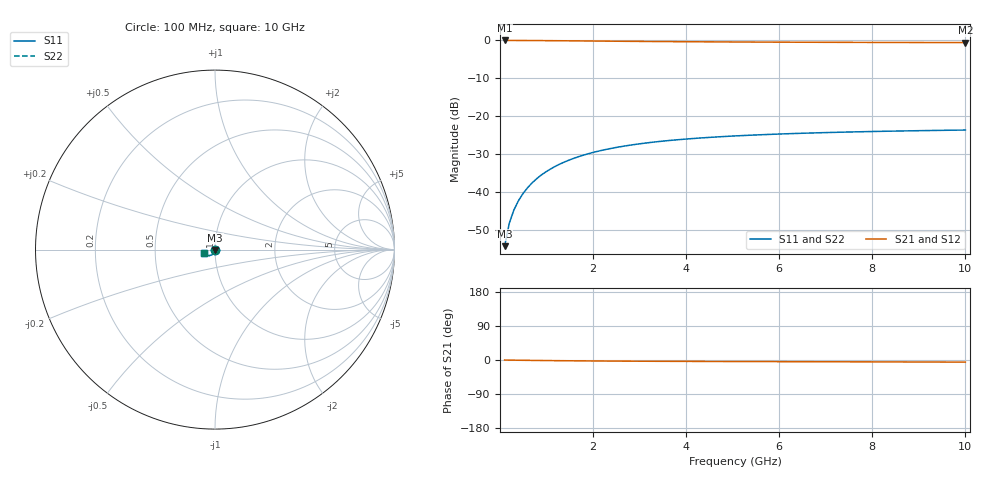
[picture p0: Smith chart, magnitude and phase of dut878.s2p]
! Touchstone file exported from HFSS 2024.1.0
!  File:  C:/UserFiles/LocalFiles/RDL_TSV_Batchsim/temp_TSV1_878_1779883547.aedt
!  Generated:  08:11:02 PM May 27, 2026
!  Design:  TSV1
!  Project:  temp_TSV1_878_1779883547
!  Setup:  Setup1
!  Solution:  Sweep
! Variables:
!  dtsv = 14.61um
!  hbump = 3um
!  htsv = 84.45um
!  lrdl = 252.1521522um
!  p = 40
!  p1 = 50.72um
!  t = 500um
!  trdl = 3um
!  wrdl = 24.89489489um
# GHz S MA R 50.000000
! Terminal data exported
! Port[1] = TSV22_T1
! Port[2] = TSV22_T2
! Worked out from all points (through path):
!   100 points, 100 MHz to 10 GHz, reference 50 ohm
!   highest |S21| = 0.00 dB at 100 MHz (marker M1); lowest = -0.6 dB at 10 GHz (marker M2)
!   lowest |S11| = -54.1 dB at 100 MHz (marker M3), VSWR 1.00, Z = 50 - j0.197 ohm
!   |S11| at or under -10 dB: start of sweep to end of sweep
!   |S22| runs from -54.1 to -23.6 dB; largest |S21 - S12| = 2.7e-15
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0.1  0.001965 -89.3  0.9998 -0.2  0.9998 -0.2  0.001965 -89.3
! Gamma 0 0 0 0
! Port Impedance 50 0 50 0
0.2  0.00393 -92.1  0.9997 -0.3  0.9997 -0.3  0.00393 -92.1
0.3  0.005891 -94.2  0.9993 -0.5  0.9993 -0.5  0.005891 -94.2
0.4  0.00784 -96.1  0.9989 -0.6  0.9989 -0.6  0.00784 -96.1
0.5  0.009768 -98.0  0.9984 -0.8  0.9984 -0.8  0.009768 -98.0
0.6  0.01167 -99.8  0.9977 -0.9  0.9977 -0.9  0.01167 -99.8
0.7  0.01354 -101.6  0.997 -1.1  0.997 -1.1  0.01354 -101.6
0.8  0.01537 -103.3  0.9962 -1.2  0.9962 -1.2  0.01537 -103.3
0.9  0.01715 -105.0  0.9953 -1.3  0.9953 -1.3  0.01715 -105.0
1.1  0.0206 -108.2  0.9933 -1.6  0.9933 -1.6  0.0206 -108.2
1.4  0.02539 -112.8  0.99 -1.9  0.99 -1.9  0.02539 -112.8
1.6  0.02833 -115.7  0.9877 -2.2  0.9877 -2.2  0.02833 -115.7
1.8  0.03107 -118.4  0.9853 -2.4  0.9853 -2.4  0.03107 -118.4
2.1  0.03479 -122.1  0.9816 -2.6  0.9816 -2.6  0.03479 -122.1
2.5  0.03912 -126.6  0.9769 -2.9  0.9769 -2.9  0.03912 -126.6
2.9  0.04281 -130.6  0.9725 -3.1  0.9725 -3.1  0.04281 -130.6
3.4  0.04667 -134.9  0.9675 -3.4  0.9675 -3.4  0.04667 -134.9
4.2  0.05153 -140.5  0.9607 -3.7  0.9607 -3.7  0.05153 -140.5
5.1  0.05562 -145.6  0.9546 -4.1  0.9546 -4.1  0.05562 -145.6
6.7  0.06063 -152.5  0.9467 -4.6  0.9467 -4.6  0.06063 -152.5
8.4  0.06407 -157.9  0.941 -5.1  0.941 -5.1  0.06407 -157.9
10  0.06627 -161.9  0.9372 -5.6  0.9372 -5.6  0.06627 -161.9
